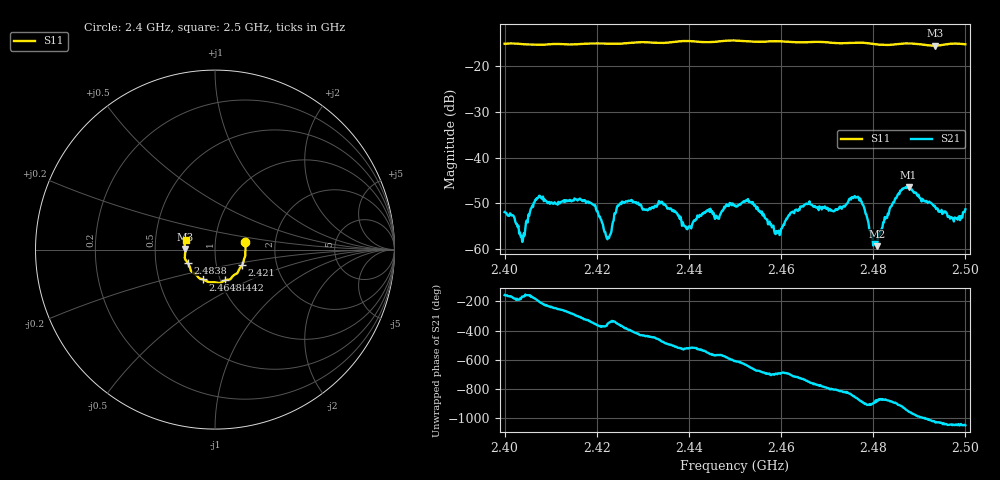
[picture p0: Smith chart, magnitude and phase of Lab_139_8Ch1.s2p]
# Hz S RI R 50
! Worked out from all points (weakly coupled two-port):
!   601 points, 2.4 GHz to 2.5 GHz, reference 50 ohm
!   highest |S21| = -46.40 dB at 2.4877 GHz (marker M1); lowest = -59.3 dB at 2.4808 GHz (marker M2)
!   lowest |S11| = -15.6 dB at 2.4935 GHz (marker M3), VSWR 1.40, Z = 35.8 + j0.204 ohm
!   |S11| at or under -10 dB: start of sweep to end of sweep
!   S12 and S22 are empty: the file has one direction only
!   S11 on the Smith chart (normalised r, x): 2.4 GHz: 1.40, +0.12; 2.421 GHz: 1.33, -0.24; 2.4442 GHz: 1.05, -0.37; 2.4648 GHz: 0.83, -0.28; 2.4838 GHz: 0.73, -0.11; 2.5 GHz: 0.72, +0.08
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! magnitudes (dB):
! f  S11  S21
! 2.4 GHz  -15.2  -51.9
! 2.4038 GHz  -15.3  -58.4
! 2.4072 GHz  -15.4  -48.9
! 2.4167 GHz  -15.3  -49.2
! 2.421 GHz  -15.2  -53.6
! 2.4225 GHz  -15.2  -57.3
! 2.4253 GHz  -15.2  -50.1
! 2.4333 GHz  -15.0  -50.0
! 2.44 GHz  -14.6  -55.0
! 2.4442 GHz  -14.9  -51.6
! 2.45 GHz  -14.5  -50.4
! 2.4533 GHz  -14.7  -49.7
! 2.4593 GHz  -14.7  -56.2
! 2.4648 GHz  -14.9  -50.7
! 2.4667 GHz  -14.8  -50.3
! 2.4763 GHz  -15.0  -48.7
! 2.4808 GHz  -15.4  -59.3
! 2.4833 GHz  -15.5  -52.4
! 2.4838 GHz  -15.4  -50.7
! 2.4877 GHz  -15.1  -46.4
! 2.4935 GHz  -15.6  -50.8
! 2.5 GHz  -15.3  -51.3
